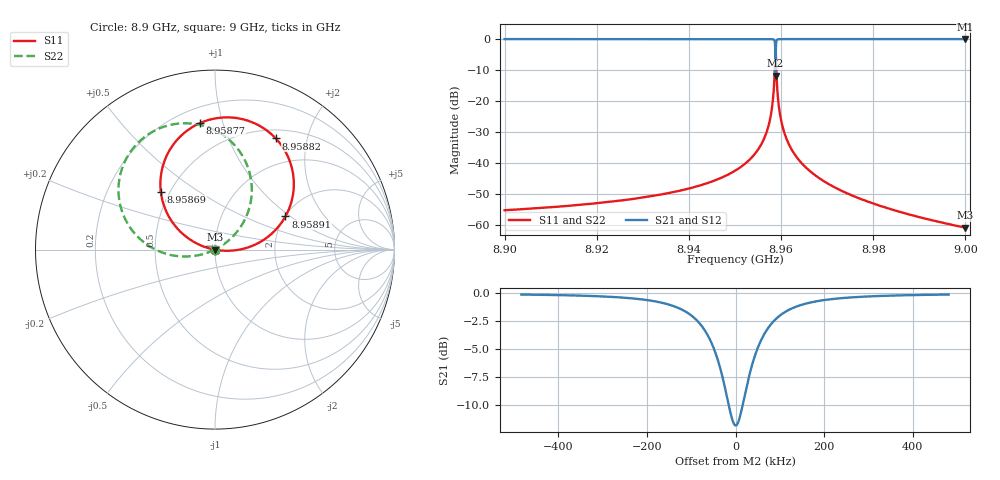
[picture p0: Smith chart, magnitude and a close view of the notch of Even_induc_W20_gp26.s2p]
! Sonnet Data File
! From: emgraph Version : 16.52
! From Project: Resonator2_cp
! Data is De-embedded
! Data File Written: 10/09/2017 00:47:18
!< HDATE 10/08/2017 10:09:33
!< MDATE 10/08/2017 10:09:33
!< PARAMS
!< Length = 400.0
!< Pwid1 = 2000.0
!< Pwid2 = 2000.0
!< Air_gap = 12.0
!< Width = 20.0
!< gap = 26.0
!< END PARAMS
# GHZ S MA R 51.00000
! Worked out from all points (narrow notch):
!   1596 points, 8.9 GHz to 9 GHz, reference 51 ohm
!   highest |S21| = 0.00 dB at 9 GHz (marker M1); lowest = -11.8 dB at 8.9588 GHz (marker M2)
!   notch at M2: 11.8 dB deep, 81.5 kHz wide at half that depth
!   lowest |S11| = -60.9 dB at 9 GHz (marker M3), VSWR 1.00, Z = 51.1 - j0.0563 ohm
!   |S11| at or under -10 dB: start of sweep to 8.95863 GHz; 8.958969 GHz to end of sweep
!   |S22| runs from -60.9 to -2.6 dB; largest |S21 - S12| = 0
!   S11 on the Smith chart (normalised r, x): 8.9 GHz: 1.00, -0.00; 8.95869 GHz: 0.45, +0.36; 8.95877 GHz: 0.30, +0.84; 8.95882 GHz: 0.61, +1.51; 8.95891 GHz: 2.01, +0.92; 9 GHz: 1.00, -0.00
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8.9  0.001718 -176.4  1 -81.5  1 -81.5  0.001718 -166.8
!< P1 F=8.9 Eeff=(6.44624956 -2.9718e-5) Z0=(50.9071399 1.17454e-4) R=0.0 C=0.0
!< P2 F=8.9 Eeff=(6.44624956 -2.9718e-5) Z0=(50.9071399 1.17454e-4) R=0.0 C=0.0
8.9167  0.002111 -179.1  1 -81.7  1 -81.7  0.002111 -164.4
8.9334  0.003032 177.3  1 -81.9  1 -81.9  0.003031 -161.2
8.95  0.007451 172.2  1 -82.3  1 -82.3  0.007452 -157.1
8.954  0.0131 170.4  0.9999 -82.7  0.9999 -82.7  0.01311 -156.2
8.956676  0.02877 168.2  0.9993 -83.6  0.9993 -83.6  0.02878 -156.4
8.958092  0.08467 163.3  0.994 -86.8  0.994 -86.8  0.08469 -160.2
8.958499  0.1929 154.6  0.9681 -93.1  0.9681 -93.1  0.193 -168.6
8.95869  0.442 133.1  0.8184 -107.7  0.8184 -107.7  0.4421 170.0
8.958738  0.5933 116.6  0.6361 -116.1  0.6361 -116.1  0.5935 153.6
8.958773  0.7089 97.0  0.3871 -115.3  0.3871 -115.3  0.7091 134.0
8.958798  0.743 79.7  0.2569 -82.4  0.2569 -82.4  0.7432 116.7
8.958825  0.7058 61.3  0.3965 -48.2  0.3965 -48.2  0.706 98.3
8.958862  0.5831 41.2  0.6518 -48.3  0.6518 -48.3  0.5833 78.3
8.95891  0.4337 25.2  0.8257 -56.7  0.8257 -56.7  0.4338 62.3
8.959101  0.19 4.2  0.9689 -71.0  0.9689 -71.0  0.1901 41.5
8.959503  0.08357 -4.3  0.994 -77.2  0.994 -77.2  0.08359 33.3
8.9607  0.03074 -8.9  0.9992 -80.2  0.9992 -80.2  0.03075 29.7
8.9629  0.01392 -11.1  0.9998 -81.2  0.9998 -81.2  0.01392 29.3
8.9667  0.00692 -13.4  1 -81.6  1 -81.6  0.006924 30.4
8.9834  0.001824 -23.5  1 -82.1  1 -82.1  0.001827 39.5
9  0.0008983 -37.8  1 -82.3  1 -82.3  0.0009023 53.5
